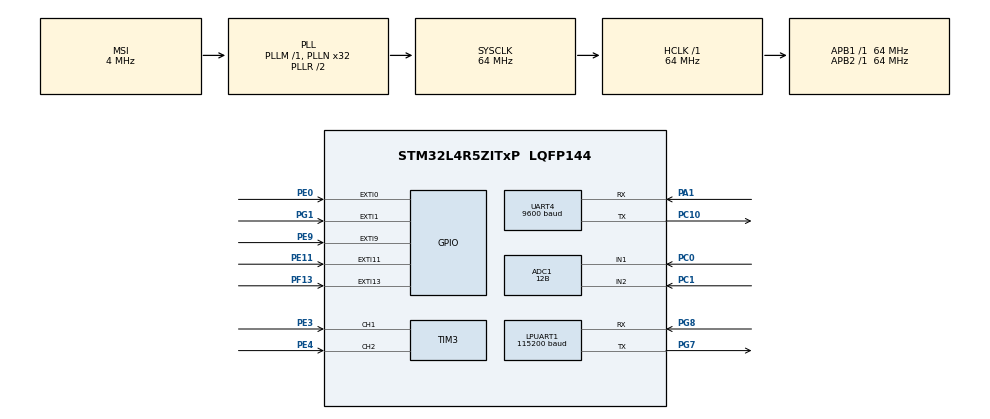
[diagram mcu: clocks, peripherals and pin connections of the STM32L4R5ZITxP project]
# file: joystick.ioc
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ADC1.Channel-0\#ChannelRegularConversion=ADC_CHANNEL_1
ADC1.Channel-2\#ChannelRegularConversion=ADC_CHANNEL_2
ADC1.ClockPrescaler=ADC_CLOCK_ASYNC_DIV16
ADC1.ContinuousConvMode=ENABLE
ADC1.DMAContinuousRequests=ENABLE
ADC1.NbrOfConversion=2
ADC1.NbrOfConversionFlag=1
ADC1.OffsetNumber-0\#ChannelRegularConversion=ADC_OFFSET_NONE
ADC1.OffsetNumber-2\#ChannelRegularConversion=ADC_OFFSET_NONE
ADC1.Rank-0\#ChannelRegularConversion=1
ADC1.Rank-2\#ChannelRegularConversion=2
ADC1.Resolution=ADC_RESOLUTION_12B
ADC1.SamplingTime-0\#ChannelRegularConversion=ADC_SAMPLETIME_12CYCLES_5
ADC1.SamplingTime-2\#ChannelRegularConversion=ADC_SAMPLETIME_12CYCLES_5
ADC1.master=1
Dma.ADC1.0.Direction=DMA_PERIPH_TO_MEMORY
Dma.ADC1.0.EventEnable=DISABLE
Dma.ADC1.0.Instance=DMA1_Channel1
Dma.ADC1.0.MemDataAlignment=DMA_MDATAALIGN_WORD
Dma.ADC1.0.MemInc=DMA_MINC_ENABLE
Dma.ADC1.0.Mode=DMA_CIRCULAR
Dma.ADC1.0.PeriphDataAlignment=DMA_PDATAALIGN_WORD
Dma.ADC1.0.PeriphInc=DMA_PINC_DISABLE
Dma.ADC1.0.Polarity=HAL_DMAMUX_REQUEST_GEN_RISING
Dma.ADC1.0.Priority=DMA_PRIORITY_LOW
Dma.ADC1.0.RequestNumber=1
Dma.ADC1.0.SignalID=NONE
Dma.ADC1.0.SyncEnable=DISABLE
Dma.ADC1.0.SyncPolarity=HAL_DMAMUX_SYNC_NO_EVENT
Dma.ADC1.0.SyncRequestNumber=1
Dma.ADC1.0.SyncSignalID=NONE
Dma.Request0=ADC1
LPUART1.BaudRate=115200
LPUART1.WordLength=UART_WORDLENGTH_8B
Mcu.Family=STM32L4
Mcu.Name=STM32L4R5ZITxP
Mcu.Package=LQFP144
NVIC.DMA1_Channel1_IRQn=true\:0\:0\:false\:false\:true\:false\:true\:true
NVIC.EXTI0_IRQn=true\:0\:0\:false\:false\:true\:true\:true\:true
NVIC.EXTI15_10_IRQn=true\:0\:0\:false\:false\:true\:true\:true\:true
NVIC.EXTI1_IRQn=true\:0\:0\:false\:false\:true\:true\:true\:true
NVIC.EXTI9_5_IRQn=true\:0\:0\:false\:false\:true\:true\:true\:true
NVIC.PriorityGroup=NVIC_PRIORITYGROUP_4
PA1.Mode=Asynchronous
PA1.Signal=UART4_RX
PC0.Signal=ADCx_IN1
PC1.Signal=ADCx_IN2
PC10.Mode=Asynchronous
PC10.Signal=UART4_TX
PC14-OSC32_IN\ (PC14).Mode=LSE-External-Oscillator
PC14-OSC32_IN\ (PC14).Signal=RCC_OSC32_IN
PC15-OSC32_OUT\ (PC15).Mode=LSE-External-Oscillator
PC15-OSC32_OUT\ (PC15).Signal=RCC_OSC32_OUT
PE0.Signal=GPXTI0
PE11.Signal=GPXTI11
PE3.Signal=S_TIM3_CH1
PE4.Signal=S_TIM3_CH2
PE9.Signal=GPXTI9
PF13.Signal=GPXTI13
PG1.Signal=GPXTI1
PG7.Mode=Asynchronous
PG7.Signal=LPUART1_TX
PG8.Mode=Asynchronous
PG8.Signal=LPUART1_RX
PH0-OSC_IN\ (PH0).Mode=HSE-External-Oscillator
PH0-OSC_IN\ (PH0).Signal=RCC_OSC_IN
PH1-OSC_OUT\ (PH1).Mode=HSE-External-Oscillator
PH1-OSC_OUT\ (PH1).Signal=RCC_OSC_OUT
ProjectManager.HeapSize=0x200
ProjectManager.StackSize=0x400
ProjectManager.TargetToolchain=STM32CubeIDE
RCC.ADCFreq_Value=32000000
RCC.AHBFreq_Value=64000000
RCC.APB1Freq_Value=64000000
RCC.APB1TimFreq_Value=64000000
RCC.APB2Freq_Value=64000000
RCC.APB2TimFreq_Value=64000000
RCC.CortexFreq_Value=64000000
RCC.HCLKFreq_Value=64000000
RCC.HSE_VALUE=8000000
RCC.HSI48_VALUE=48000000
RCC.HSI_VALUE=16000000
RCC.MSI_VALUE=4000000
RCC.PLLN=32
RCC.PLLSAI1N=16
RCC.SYSCLKFreq_VALUE=64000000
RCC.SYSCLKSource=RCC_SYSCLKSOURCE_PLLCLK
RCC.USBFreq_Value=32000000
RCC.VCOOutputFreq_Value=128000000
SH.ADCx_IN1.0=ADC1_IN1,IN1-Single-Ended
SH.ADCx_IN2.0=ADC1_IN2,IN2-Single-Ended
SH.S_TIM3_CH1.0=TIM3_CH1,Encoder_Interface
SH.S_TIM3_CH2.0=TIM3_CH2,Encoder_Interface
TIM3.AutoReloadPreload=TIM_AUTORELOAD_PRELOAD_ENABLE
TIM3.EncoderMode=TIM_ENCODERMODE_TI12
TIM3.IC1Filter=10
TIM3.IC2Filter=10
UART4.BaudRate=9600
board=NUCLEO-L4R5ZI-P

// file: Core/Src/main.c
/* USER CODE BEGIN Header */
/**
  ******************************************************************************
  * @file           : main.c
  * @brief          : Main program body
  ******************************************************************************
  * @attention
  *
  * Copyright (c) 2025 STMicroelectronics.
  * All rights reserved.
  *
  * This software is licensed under terms that can be found in the LICENSE file
  * in the root directory of this software component.
  * If no LICENSE file comes with this software, it is provided AS-IS.
  *
  ******************************************************************************
  */
/* USER CODE END Header */
#include "main.h"

/* USER CODE BEGIN Includes */
#include "stdio.h"
#include "math.h"
#include "string.h"
/* USER CODE END Includes */

ADC_HandleTypeDef hadc1;
DMA_HandleTypeDef hdma_adc1;

UART_HandleTypeDef hlpuart1;
UART_HandleTypeDef huart4;

TIM_HandleTypeDef htim3;

/* USER CODE BEGIN PV */
volatile uint8_t pe0_pressed = 0;
volatile uint8_t pe9_pressed = 0;
volatile uint8_t pe11_pressed = 0;
volatile uint8_t pf13_pressed = 0;

volatile uint8_t feature1 = 0;
volatile uint8_t feature2 = 0;

volatile uint8_t rot_sw = 0;

static uint32_t adc_buffer[2];
static int rot_count = 0;
float left_motor_speed = 0.0f;
float right_motor_speed = 0.0f;
uint8_t uart_buffer[4];
char xbee_buffer[100];

uint8_t power = 1;
uint8_t mode = 0;
/* USER CODE END PV */

void SystemClock_Config(void);
static void MX_GPIO_Init(void);
static void MX_DMA_Init(void);
static void MX_ADC1_Init(void);
static void MX_LPUART1_UART_Init(void);
static void MX_UART4_Init(void);
static void MX_TIM3_Init(void);

/* USER CODE BEGIN 0 */
void HAL_GPIO_EXTI_Callback(uint16_t GPIO_Pin)
{
    uint32_t now = HAL_GetTick();  // for debouncing

    static uint32_t last_pe9  = 0;
    static uint32_t last_pe11 = 0;
    static uint32_t last_pf13 = 0;
    static uint32_t last_sw  = 0;
    static uint32_t last_but = 0;

    switch(GPIO_Pin) {
    case GPIO_PIN_0:
		if (now - last_sw < 200) return;
		last_sw = now;
		pe0_pressed = 1;
		break;
    case GPIO_PIN_1:
        if (now - last_sw < 200) return;
        last_sw = now;
    	rot_sw = 1;
    	break;
    case GPIO_PIN_9:
        if (now - last_pe9 < 200) return;
        last_pe9 = now;
        pe9_pressed = 1;
    	break;
    case GPIO_PIN_11:
        if (now - last_pe11 < 200) return;
        last_pe11 = now;
        pe11_pressed = 1;
    	break;
    case GPIO_PIN_13:
        if (now - last_pf13 < 200) return;
        last_pf13 = now;
        pf13_pressed = 1;
    	break;
    }
    return;
}
void HAL_ADC_ConvCpltCallback(ADC_HandleTypeDef *hadc) {
	return;
}

void xbee_send(const char* cmd) {
	HAL_UART_Transmit(&huart4, (uint8_t*)cmd, strlen(cmd), 100);
	HAL_UART_Transmit(&huart4, (uint8_t*)"\r", 1, 100);
}
int xbee_readline(char *buf, int maxlen)
{
    int i = 0;
    uint8_t ch;
    while (i < maxlen - 1) {
        if (HAL_UART_Receive(&huart4, &ch, 1, 500) != HAL_OK) {
            break;  // timeout
        }
        buf[i++] = ch;
        if (ch == '\r' || ch == '\n') break;
    }
    buf[i] = '\0';
    return i;
}
uint8_t xbee_enter_command(void)
{
    uint8_t resp[8];
    HAL_StatusTypeDef st;

    HAL_Delay(1000);   // guard time before
    uint8_t plus[3] = {'+', '+', '+'};
    HAL_UART_Transmit(&huart4, plus, 3, 100);
    HAL_Delay(1000);   // guard time after

    // XBee should respond with "OK\r"
    st = HAL_UART_Receive(&huart4, resp, 3, 500);  // read 3 bytes

    printf("enter cmd resp: st=%d, bytes=%02X %02X %02X\r\n",
           st, resp[0], resp[1], resp[2]);

    // check for "OK\r"
    if (st == HAL_OK && resp[0] == 'O' && resp[1] == 'K')
        return 1;
    else
        return 0;
}

void xbee_coord_setup() {
	if(xbee_enter_command()) {
		xbee_send("ATID 1111");
		xbee_send("ATCH 10");
		xbee_send("ATMY 1");
		xbee_send("ATDL 2");
		xbee_send("ATWR");
		xbee_send("ATCN");
	}
	else {
		printf("xbee coordinator setup failed! \r\n");
	}
}

void xbee_router_setup() {
	if(xbee_enter_command()) {
		xbee_send("ATID 1111");
		xbee_send("ATCH 10");
		xbee_send("ATMY 2");
		xbee_send("ATDL 1");
		xbee_send("ATWR");
		xbee_send("ATCN");
	}
	else {
		printf("xbee router setup failed! \r\n");
	}
}

// Convert ADC values to normalized range [-1.0, +1.0]
float normalize_adc(uint32_t adc_val) {
    return ((float)adc_val - 2047.5f) / 2047.5f;  // Center at 0, range ±1.0
}

// Convert ADC to float (0.0 to 1.0 range) then to 8-bit
uint8_t adc_to_8bit(uint32_t adc_val) {
    float normalized = (float)adc_val / 4095.0f;  // 0.0 to 1.0
    return (uint8_t)(normalized * 255.0f);        // Scale to 0-255
}

#define X_CENTER_ADC   1890.0f   // approximate X center (adc_buffer[0])
#define Y_CENTER_ADC   1830.0f   // approximate Y center (adc_buffer[1])

uint8_t encode_direction(uint32_t x_raw, uint32_t y_raw)
{
	float dx = (float)x_raw - X_CENTER_ADC;
	float dy = (float)y_raw - Y_CENTER_ADC;  // flip as above if needed

	float left_val = dx +dy;
	float right_val = dx - dy;

	uint8_t left_command;
	uint8_t right_command;

	if(-350 < left_val && left_val < 350){
		left_command = 0;
	}else if(-800 < left_val && left_val < 800){
		left_command = 1;
	}else if(-1300 < left_val && left_val < 1300){
		left_command = 2;
	}else{
		left_command = 3;
	}

	if(-350 < right_val && right_val < 350){
		right_command = 0;
	}else if(-800 < right_val && right_val < 800){
		right_command = 1;
	}else if(-1300 < right_val && right_val < 1300){
		right_command = 2;
	}else{
		right_command = 3;
	}

	if(left_val > 0){
		left_command += 4;
	}
	if(right_val > 0){
		right_command += 4;
	}
	return left_command * 8 + right_command;
}

/* USER CODE END 0 */

int main(void)
{

  /* MCU Configuration--------------------------------------------------------*/

  /* Reset of all peripherals, Initializes the Flash interface and the Systick. */
  HAL_Init();

  /* Configure the system clock */
  SystemClock_Config();

  /* Initialize all configured peripherals */
  MX_GPIO_Init();
  MX_DMA_Init();
  MX_ADC1_Init();
  MX_LPUART1_UART_Init();
  MX_UART4_Init();
  MX_TIM3_Init();
  /* USER CODE BEGIN 2 */
//  xbee_coord_setup();
  HAL_Delay(1000);
  HAL_TIM_Encoder_Start(&htim3, TIM_CHANNEL_ALL);

  __HAL_TIM_SET_COUNTER(&htim3, 32768);
  HAL_ADC_Start_DMA(&hadc1, adc_buffer, 2);

  /* USER CODE END 2 */

  /* Infinite loop */
  while (1)
  {

    /* USER CODE BEGIN 3 */
	  int32_t x_raw = adc_buffer[0];  // check which is X / Y on your board
	  int32_t y_raw = adc_buffer[1];

	  uart_buffer[0] = encode_direction(x_raw, y_raw);

	  if (pe9_pressed) {
		  pe9_pressed = 0;
		  power = !power;
		  printf("PE9 press!\r\n");

	  }
	  if (pe11_pressed) {
		  pe11_pressed = 0;
		  mode = !mode;
		  printf("PE11 press!\r\n");

	  }
	  if(power){
		  uart_buffer[0] |= 0b10000000;
	  }else{
		  uart_buffer[0] &= 0b01111111;
	  }

	  if(mode){
		  uart_buffer[0] |= 0b01000000;
	  }else{
		  uart_buffer[0] &= 0b10111111;
	  }

	  if(rot_sw){
		  rot_sw = 0;
		  __HAL_TIM_SET_COUNTER(&htim3, 32768);
		  printf("rotary switch pressed! \r\n");
	  }

        int32_t cnt = (int32_t)TIM3->CNT;
        rot_count = (cnt - 32768) >> 4;
        if(rot_count >= 32){
        	rot_count = 32;
        }
        if(rot_count < -32){
        	rot_count = -32;
        }
        if(rot_count >= 0){
        	uart_buffer[1] = (uint8_t)(rot_count<<2) & 0b01111111;
        }else{
        	uart_buffer[1] = (uint8_t)((-rot_count)<<2) | 0b10000000;
        }
        printf("rotary count: %d\r\n", rot_count);

        if (pf13_pressed) {
			pf13_pressed = 0;
			feature1 = !feature1;
			printf("PF13 press!\r\n");
		}
		if (pe0_pressed) {
			pe0_pressed = 0;
			feature2 = !feature2;
			printf("PE0 press!\r\n");
		}

		if(feature1){
			uart_buffer[1] |= 0b00000001;
		}else{
			uart_buffer[1] &= 0b11111110;
		}

		if(feature2){
			uart_buffer[1] |= 0b00000010;
		}else{
			uart_buffer[1] &= 0b11111101;
		}

        HAL_UART_Transmit(&huart4, uart_buffer, 2, 100);
        HAL_Delay(100);
    }
  /* USER CODE END 3 */
}

void SystemClock_Config(void)
{
  RCC_OscInitTypeDef RCC_OscInitStruct = {0};
  RCC_ClkInitTypeDef RCC_ClkInitStruct = {0};

  /** Configure the main internal regulator output voltage
  */
  if (HAL_PWREx_ControlVoltageScaling(PWR_REGULATOR_VOLTAGE_SCALE1) != HAL_OK)
  {
    Error_Handler();
  }

  /** Initializes the RCC Oscillators according to the specified parameters
  * in the RCC_OscInitTypeDef structure.
  */
  RCC_OscInitStruct.OscillatorType = RCC_OSCILLATORTYPE_MSI;
  RCC_OscInitStruct.MSIState = RCC_MSI_ON;
  RCC_OscInitStruct.MSICalibrationValue = 0;
  RCC_OscInitStruct.MSIClockRange = RCC_MSIRANGE_6;
  RCC_OscInitStruct.PLL.PLLState = RCC_PLL_ON;
  RCC_OscInitStruct.PLL.PLLSource = RCC_PLLSOURCE_MSI;
  RCC_OscInitStruct.PLL.PLLM = 1;
  RCC_OscInitStruct.PLL.PLLN = 32;
  RCC_OscInitStruct.PLL.PLLP = RCC_PLLP_DIV2;
  RCC_OscInitStruct.PLL.PLLQ = RCC_PLLQ_DIV2;
  RCC_OscInitStruct.PLL.PLLR = RCC_PLLR_DIV2;
  if (HAL_RCC_OscConfig(&RCC_OscInitStruct) != HAL_OK)
  {
    Error_Handler();
  }

  /** Initializes the CPU, AHB and APB buses clocks
  */
  RCC_ClkInitStruct.ClockType = RCC_CLOCKTYPE_HCLK|RCC_CLOCKTYPE_SYSCLK
                              |RCC_CLOCKTYPE_PCLK1|RCC_CLOCKTYPE_PCLK2;
  RCC_ClkInitStruct.SYSCLKSource = RCC_SYSCLKSOURCE_PLLCLK;
  RCC_ClkInitStruct.AHBCLKDivider = RCC_SYSCLK_DIV1;
  RCC_ClkInitStruct.APB1CLKDivider = RCC_HCLK_DIV1;
  RCC_ClkInitStruct.APB2CLKDivider = RCC_HCLK_DIV1;

  if (HAL_RCC_ClockConfig(&RCC_ClkInitStruct, FLASH_LATENCY_3) != HAL_OK)
  {
    Error_Handler();
  }
}

static void MX_ADC1_Init(void)
{

  ADC_ChannelConfTypeDef sConfig = {0};

  /** Common config
  */
  hadc1.Instance = ADC1;
  hadc1.Init.ClockPrescaler = ADC_CLOCK_ASYNC_DIV16;
  hadc1.Init.Resolution = ADC_RESOLUTION_12B;
  hadc1.Init.DataAlign = ADC_DATAALIGN_RIGHT;
  hadc1.Init.ScanConvMode = ADC_SCAN_ENABLE;
  hadc1.Init.EOCSelection = ADC_EOC_SINGLE_CONV;
  hadc1.Init.LowPowerAutoWait = DISABLE;
  hadc1.Init.ContinuousConvMode = ENABLE;
  hadc1.Init.NbrOfConversion = 2;
  hadc1.Init.DiscontinuousConvMode = DISABLE;
  hadc1.Init.ExternalTrigConv = ADC_SOFTWARE_START;
  hadc1.Init.ExternalTrigConvEdge = ADC_EXTERNALTRIGCONVEDGE_NONE;
  hadc1.Init.DMAContinuousRequests = ENABLE;
  hadc1.Init.Overrun = ADC_OVR_DATA_PRESERVED;
  hadc1.Init.OversamplingMode = DISABLE;
  if (HAL_ADC_Init(&hadc1) != HAL_OK)
  {
    Error_Handler();
  }

  /** Configure Regular Channel
  */
  sConfig.Channel = ADC_CHANNEL_1;
  sConfig.Rank = ADC_REGULAR_RANK_1;
  sConfig.SamplingTime = ADC_SAMPLETIME_12CYCLES_5;
  sConfig.SingleDiff = ADC_SINGLE_ENDED;
  sConfig.OffsetNumber = ADC_OFFSET_NONE;
  sConfig.Offset = 0;
  if (HAL_ADC_ConfigChannel(&hadc1, &sConfig) != HAL_OK)
  {
    Error_Handler();
  }

  /** Configure Regular Channel
  */
  sConfig.Channel = ADC_CHANNEL_2;
  sConfig.Rank = ADC_REGULAR_RANK_2;
  if (HAL_ADC_ConfigChannel(&hadc1, &sConfig) != HAL_OK)
  {
    Error_Handler();
  }

}

static void MX_LPUART1_UART_Init(void)
{

  hlpuart1.Instance = LPUART1;
  hlpuart1.Init.BaudRate = 115200;
  hlpuart1.Init.WordLength = UART_WORDLENGTH_8B;
  hlpuart1.Init.StopBits = UART_STOPBITS_1;
  hlpuart1.Init.Parity = UART_PARITY_NONE;
  hlpuart1.Init.Mode = UART_MODE_TX_RX;
  hlpuart1.Init.HwFlowCtl = UART_HWCONTROL_NONE;
  hlpuart1.Init.OneBitSampling = UART_ONE_BIT_SAMPLE_DISABLE;
  hlpuart1.Init.ClockPrescaler = UART_PRESCALER_DIV1;
  hlpuart1.AdvancedInit.AdvFeatureInit = UART_ADVFEATURE_NO_INIT;
  hlpuart1.FifoMode = UART_FIFOMODE_DISABLE;
  if (HAL_UART_Init(&hlpuart1) != HAL_OK)
  {
    Error_Handler();
  }
  if (HAL_UARTEx_SetTxFifoThreshold(&hlpuart1, UART_TXFIFO_THRESHOLD_1_8) != HAL_OK)
  {
    Error_Handler();
  }
  if (HAL_UARTEx_SetRxFifoThreshold(&hlpuart1, UART_RXFIFO_THRESHOLD_1_8) != HAL_OK)
  {
    Error_Handler();
  }
  if (HAL_UARTEx_DisableFifoMode(&hlpuart1) != HAL_OK)
  {
    Error_Handler();
  }

}

static void MX_UART4_Init(void)
{

  huart4.Instance = UART4;
  huart4.Init.BaudRate = 9600;
  huart4.Init.WordLength = UART_WORDLENGTH_8B;
  huart4.Init.StopBits = UART_STOPBITS_1;
  huart4.Init.Parity = UART_PARITY_NONE;
  huart4.Init.Mode = UART_MODE_TX_RX;
  huart4.Init.HwFlowCtl = UART_HWCONTROL_NONE;
  huart4.Init.OverSampling = UART_OVERSAMPLING_16;
  huart4.Init.OneBitSampling = UART_ONE_BIT_SAMPLE_DISABLE;
  huart4.Init.ClockPrescaler = UART_PRESCALER_DIV1;
  huart4.AdvancedInit.AdvFeatureInit = UART_ADVFEATURE_NO_INIT;
  if (HAL_UART_Init(&huart4) != HAL_OK)
  {
    Error_Handler();
  }
  if (HAL_UARTEx_SetTxFifoThreshold(&huart4, UART_TXFIFO_THRESHOLD_1_8) != HAL_OK)
  {
    Error_Handler();
  }
  if (HAL_UARTEx_SetRxFifoThreshold(&huart4, UART_RXFIFO_THRESHOLD_1_8) != HAL_OK)
  {
    Error_Handler();
  }
  if (HAL_UARTEx_DisableFifoMode(&huart4) != HAL_OK)
  {
    Error_Handler();
  }

}

static void MX_TIM3_Init(void)
{

  TIM_Encoder_InitTypeDef sConfig = {0};
  TIM_MasterConfigTypeDef sMasterConfig = {0};

  htim3.Instance = TIM3;
  htim3.Init.Prescaler = 0;
  htim3.Init.CounterMode = TIM_COUNTERMODE_UP;
  htim3.Init.Period = 65535;
  htim3.Init.ClockDivision = TIM_CLOCKDIVISION_DIV1;
  htim3.Init.AutoReloadPreload = TIM_AUTORELOAD_PRELOAD_ENABLE;
  sConfig.EncoderMode = TIM_ENCODERMODE_TI12;
  sConfig.IC1Polarity = TIM_ICPOLARITY_RISING;
  sConfig.IC1Selection = TIM_ICSELECTION_DIRECTTI;
  sConfig.IC1Prescaler = TIM_ICPSC_DIV1;
  sConfig.IC1Filter = 10;
  sConfig.IC2Polarity = TIM_ICPOLARITY_RISING;
  sConfig.IC2Selection = TIM_ICSELECTION_DIRECTTI;
  sConfig.IC2Prescaler = TIM_ICPSC_DIV1;
  sConfig.IC2Filter = 10;
  if (HAL_TIM_Encoder_Init(&htim3, &sConfig) != HAL_OK)
  {
    Error_Handler();
  }
  sMasterConfig.MasterOutputTrigger = TIM_TRGO_RESET;
  sMasterConfig.MasterSlaveMode = TIM_MASTERSLAVEMODE_DISABLE;
  if (HAL_TIMEx_MasterConfigSynchronization(&htim3, &sMasterConfig) != HAL_OK)
  {
    Error_Handler();
  }

}

static void MX_DMA_Init(void)
{

  /* DMA controller clock enable */
  __HAL_RCC_DMAMUX1_CLK_ENABLE();
  __HAL_RCC_DMA1_CLK_ENABLE();

  /* DMA interrupt init */
  /* DMA1_Channel1_IRQn interrupt configuration */
  HAL_NVIC_SetPriority(DMA1_Channel1_IRQn, 0, 0);
  HAL_NVIC_EnableIRQ(DMA1_Channel1_IRQn);

}

static void MX_GPIO_Init(void)
{
  GPIO_InitTypeDef GPIO_InitStruct = {0};

  /* GPIO Ports Clock Enable */
  __HAL_RCC_GPIOE_CLK_ENABLE();
  __HAL_RCC_GPIOC_CLK_ENABLE();
  __HAL_RCC_GPIOH_CLK_ENABLE();
  __HAL_RCC_GPIOA_CLK_ENABLE();
  __HAL_RCC_GPIOF_CLK_ENABLE();
  __HAL_RCC_GPIOG_CLK_ENABLE();
  HAL_PWREx_EnableVddIO2();

  /*Configure GPIO pin : PF13 */
  GPIO_InitStruct.Pin = GPIO_PIN_13;
  GPIO_InitStruct.Mode = GPIO_MODE_IT_RISING;
  GPIO_InitStruct.Pull = GPIO_NOPULL;
  HAL_GPIO_Init(GPIOF, &GPIO_InitStruct);

  /*Configure GPIO pin : PG1 */
  GPIO_InitStruct.Pin = GPIO_PIN_1;
  GPIO_InitStruct.Mode = GPIO_MODE_IT_RISING;
  GPIO_InitStruct.Pull = GPIO_NOPULL;
  HAL_GPIO_Init(GPIOG, &GPIO_InitStruct);

  /*Configure GPIO pins : PE9 PE11 PE0 */
  GPIO_InitStruct.Pin = GPIO_PIN_9|GPIO_PIN_11|GPIO_PIN_0;
  GPIO_InitStruct.Mode = GPIO_MODE_IT_RISING;
  GPIO_InitStruct.Pull = GPIO_NOPULL;
  HAL_GPIO_Init(GPIOE, &GPIO_InitStruct);

  /* EXTI interrupt init*/
  HAL_NVIC_SetPriority(EXTI0_IRQn, 0, 0);
  HAL_NVIC_EnableIRQ(EXTI0_IRQn);

  HAL_NVIC_SetPriority(EXTI1_IRQn, 0, 0);
  HAL_NVIC_EnableIRQ(EXTI1_IRQn);

  HAL_NVIC_SetPriority(EXTI9_5_IRQn, 0, 0);
  HAL_NVIC_EnableIRQ(EXTI9_5_IRQn);

  HAL_NVIC_SetPriority(EXTI15_10_IRQn, 0, 0);
  HAL_NVIC_EnableIRQ(EXTI15_10_IRQn);

}

/* USER CODE BEGIN 4 */
#ifdef __GNUC__
#define PUTCHAR_PROTOTYPE int __io_putchar(int ch)
#else
  #define PUTCHAR_PROTOTYPE int fputc(int ch, FILE *f)
#endif /* __GNUC__ */
PUTCHAR_PROTOTYPE
{
  HAL_UART_Transmit(&hlpuart1, (uint8_t *)&ch, 1, 0xFFFF);
  return ch;
}

/* USER CODE END 4 */

void Error_Handler(void)
{
  __disable_irq();
  while (1)
  {
  }
}
